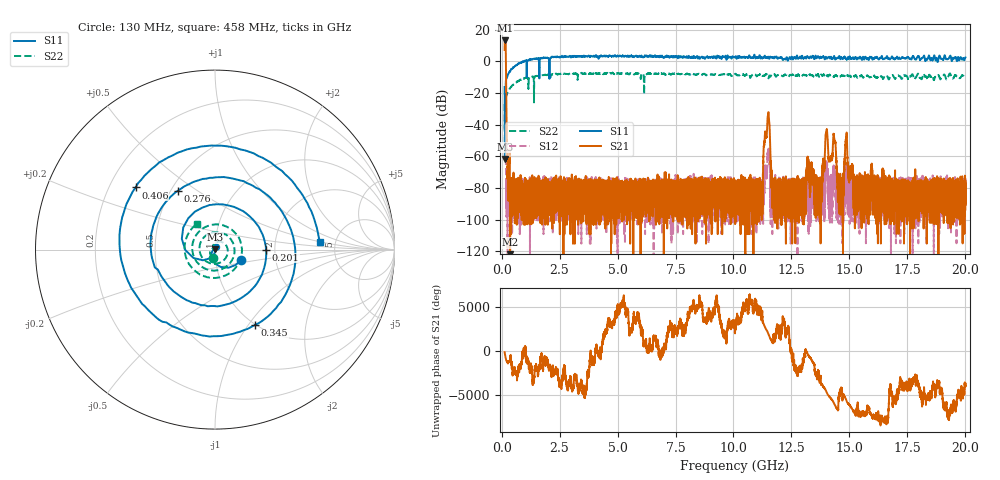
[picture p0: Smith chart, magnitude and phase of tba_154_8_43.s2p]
!Created with skrf (http://scikit-rf.org).
# GHz S RI R 50.0
!freq ReS11 ImS11 ReS21 ImS21 ReS12 ImS12 ReS22 ImS22
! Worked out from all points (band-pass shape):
!   20013 points, 130 MHz to 20 GHz, reference 50 ohm
!   highest |S21| = 13.29 dB at 142 MHz (marker M1); lowest = -178.6 dB at 367 MHz (marker M2)
!   |S21| within 3 dB of the highest: 132 MHz to 177.7 MHz (45.66 MHz wide, 29.5 % of centre)
!   lowest |S11| = -61.5 dB at 157 MHz (marker M3), VSWR 1.00, Z = 50.1 + j0.0631 ohm
!   |S11| at or under -10 dB: start of sweep to 224.7 MHz; 225.2 MHz to 227.3 MHz (2.108 MHz wide, 0.932 % of centre); 2.061757 GHz to 2.064387 GHz (2.63 MHz wide, 0.127 % of centre) (the widest 3 of 6)
!   |S22| runs from -55.7 to -7.1 dB; largest |S21 - S12| = 4.6
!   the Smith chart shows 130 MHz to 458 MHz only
!   S11 on the Smith chart (normalised r, x): 130 MHz: 1.33, -0.15; 201 MHz: 1.80, +0.00; 276 MHz: 0.54, +0.42; 345 MHz: 0.99, -1.07; 406 MHz: 0.31, +0.31; 458 MHz: 3.74, +0.51
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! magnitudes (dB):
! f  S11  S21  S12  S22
! 130 MHz  -16.1  7.2  -59.7  -26.8
! 142 MHz  -39.7  13.3  -52.3  -50.3
! 157 MHz  -61.5  13.2  -50.3  -53.6
! 201 MHz  -10.9  -27.9  -75.1  -21.7
! 276 MHz  -8.2  -76.1  -79.1  -19.0
! 345 MHz  -6.5  -55.4  -86.6  -17.3
! 367 MHz  -6.2  -178.6  -81.1  -16.8
! 406 MHz  -5.0  -84.9  -76.9  -16.1
! 458 MHz  -4.7  -87.6  -80.3  -15.1
! 3.442 GHz  3.2  -84.1  -97.0  -7.2
! 6.754 GHz  3.3  -91.8  -85.4  -7.7
! 10.06 GHz  2.6  -84.5  -90.8  -7.9
! 11.17 GHz  1.9  -87.4  -82.3  -7.7
! 11.46 GHz  2.0  -37.3  -60.9  -8.9
! 11.76 GHz  2.3  -87.1  -77.8  -8.2
! 13.38 GHz  2.5  -67.2  -79.7  -8.5
! 13.73 GHz  2.6  -90.4  -73.1  -9.5
! 14.04 GHz  1.9  -44.2  -65.7  -8.8
! 14.6 GHz  1.6  -81.1  -75.5  -9.4
! 14.87 GHz  1.7  -46.5  -66.0  -9.5
! 16.69 GHz  2.0  -80.8  -88.8  -11.3
! 20 GHz  2.6  -93.5  -82.8  -10.1
